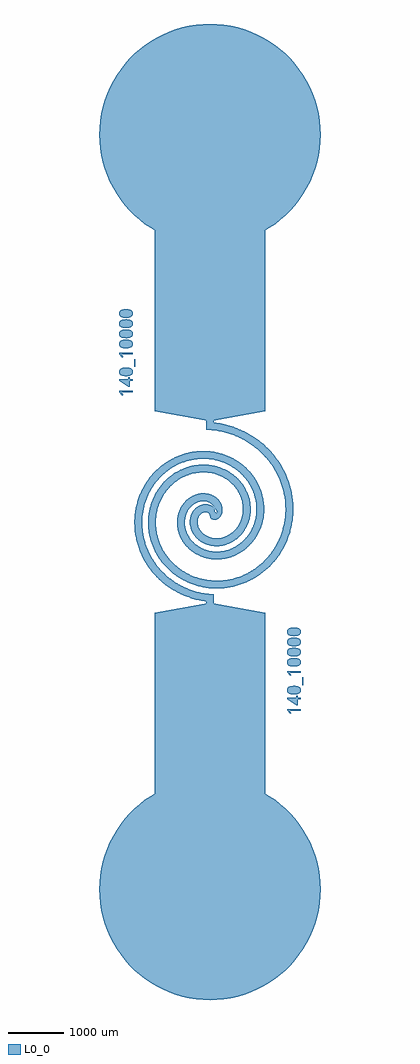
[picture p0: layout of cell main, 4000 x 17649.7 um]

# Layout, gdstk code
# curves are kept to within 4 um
import gdstk
lib = gdstk.Library(unit=1e-6, precision=1e-09)
def R(c, l, rs):  # rectangles x0, y0, x1, y1
    for r in rs: c.add(gdstk.rectangle(r[:2], r[2:], *l))
def P(c, l, *ps):  # polygons
    for p in ps: c.add(gdstk.Polygon(p, *l))
L0_0 = (0, 0)

main = lib.new_cell('main')
R(main, L0_0, [(-1430,-9006,570,-4002), (1237.9,-5311.7,1260.7,-5173.3), (-500,-4006,-360,-3666), (-500,-696.3,-360,-356.3), (-1430,-360.3,570,4643.7), (-1800.1,443.9,-1777.3,582.2)])
P(main, L0_0, [(1083.8,-4393.5),(1134.9,-4390.6),(1170.4,-4378.5),(1185,-4357.4),(1180,-4326.6),(1154.1,-4309.2),(1111.7,-4302.2),(1053.5,-4303.2),(1009.1,-4315.9),(991.9,-4343.1),(1001.8,-4374.2),(1032.4,-4388.7)],
  [(1088.7,-4271.6),(1015.9,-4282.2),(978.1,-4308.7),(968.3,-4329.8),(967,-4359.7),(974.6,-4383),(989.9,-4400.5),(1037.1,-4419.6),(1116,-4422.5),(1165.1,-4411.8),(1199.3,-4387),(1211.1,-4343.9),(1205.9,-4318.8),(1195.1,-4302.1),(1157.4,-4279.9)],
  [(1083.8,-4577.1),(1134.9,-4574.2),(1170.4,-4562.1),(1185,-4541),(1180,-4510.2),(1154.1,-4492.8),(1111.7,-4485.8),(1053.5,-4486.8),(1009.1,-4499.5),(991.9,-4526.7),(1001.8,-4557.8),(1032.4,-4572.3)],
  [(1088.7,-4455.2),(1015.9,-4465.8),(978.1,-4492.3),(968.3,-4513.4),(967,-4543.3),(976.3,-4569.4),(992.6,-4586.1),(1037.1,-4603.2),(1116,-4606.1),(1165.1,-4595.4),(1199.3,-4570.6),(1211.1,-4527.5),(1205.9,-4502.4),(1195.1,-4485.7),(1157.4,-4463.5)],
  [(1083.8,-4760.7),(1141.7,-4756.6),(1172.3,-4744.3),(1185.4,-4722.3),(1180,-4693.8),(1154.1,-4676.4),(1111.7,-4669.4),(1042.4,-4671.9),(1007.1,-4684.4),(991.9,-4710.3),(1001.8,-4741.3),(1032.4,-4755.9)],
  [(1088.7,-4638.8),(1015.9,-4649.4),(978.1,-4675.9),(968.3,-4697),(967,-4726.9),(976.3,-4753),(992.6,-4769.7),(1037.1,-4786.8),(1116,-4789.7),(1165.1,-4779),(1199.3,-4754.1),(1211.1,-4711.1),(1205.9,-4686),(1195.1,-4669.3),(1157.4,-4647.1)],
  [(1083.8,-4944.3),(1138.4,-4940.8),(1172.3,-4927.9),(1185.4,-4905.9),(1180,-4877.4),(1156.8,-4860.9),(1111.7,-4853),(1042.4,-4855.5),(1007.1,-4868),(991.9,-4893.9),(1001.8,-4924.9),(1029.3,-4938.7)],
  [(1088.7,-4822.4),(1019.8,-4831.6),(978.1,-4859.5),(968.3,-4880.6),(967,-4910.5),(974.6,-4933.7),(992.6,-4953.3),(1037.1,-4970.4),(1116,-4973.3),(1165.1,-4962.6),(1199.3,-4937.8),(1211.1,-4894.7),(1205.9,-4869.6),(1195.1,-4852.9),(1157.4,-4830.7)],
  [(1208,-5058.2),(970,-5058.2),(970,-5082.7),(1018.7,-5145),(1038.7,-5129.4),(1000.6,-5085.6),(1208,-5086.9)],
  [(1083.8,-5448.5),(1134.9,-5445.6),(1170.4,-5433.5),(1185,-5412.4),(1180,-5381.6),(1154.1,-5364.2),(1111.7,-5357.2),(1053.5,-5358.2),(1009.1,-5370.9),(991.9,-5398.1),(1001.8,-5429.2),(1032.4,-5443.7)],
  [(1088.7,-5326.6),(1019.8,-5335.9),(978.1,-5363.7),(968.3,-5384.9),(967,-5414.7),(974.6,-5438),(992.6,-5457.6),(1041.7,-5475.4),(1116,-5477.5),(1168.7,-5465.3),(1199.3,-5442),(1211.1,-5398.9),(1205.9,-5373.9),(1195.1,-5357.1),(1153.3,-5333.8)],
  [(1127.6,-5564.6),(999.3,-5562.5),(1127.6,-5645.5)],
  [(1154.6,-5501.3),(1127.6,-5501.3),(1127.6,-5535.9),(968.7,-5535.9),(968.7,-5566.5),(1128.7,-5674.5),(1154.6,-5674.5),(1154.6,-5564.6),(1208,-5564.6),(1208,-5535.9),(1154.6,-5535.9)],
  [(1208,-5746.1),(970,-5746.1),(970,-5770.5),(1018.7,-5832.8),(1038.7,-5817.2),(1000.6,-5773.4),(1208,-5774.7)],
  [(-1954.1,1362),(-1899.6,1365.5),(-1865.6,1378.4),(-1852.5,1400.4),(-1858,1428.9),(-1881.1,1445.4),(-1926.3,1453.3),(-1991.9,1451.4),(-2030.9,1438.3),(-2046.1,1412.4),(-2036.1,1381.4),(-2008.6,1367.6)],
  [(-1955,1483.9),(-2018.2,1474.7),(-2055.7,1451.9),(-2067.6,1432.2),(-2071.7,1407.6),(-2068.7,1385.1),(-2057.7,1364.5),(-2025.7,1342.7),(-1971.4,1332.5),(-1893.2,1337.4),(-1850.3,1356.5),(-1835,1374.1),(-1827.1,1400.1),(-1829.7,1430.2),(-1840.7,1450.9),(-1884.7,1476.8)],
  [(-1954.1,1178.4),(-1899.6,1181.9),(-1865.6,1194.8),(-1852.5,1216.8),(-1858,1245.3),(-1883.8,1262.8),(-1930.6,1270),(-1991.9,1267.8),(-2030.9,1254.7),(-2046.1,1228.8),(-2036.1,1197.8),(-2008.6,1184)],
  [(-1955,1300.3),(-2018.2,1291.1),(-2055.7,1268.3),(-2067.6,1248.6),(-2071.7,1224),(-2068.7,1201.5),(-2057.7,1180.9),(-2018,1156.5),(-1955,1148.3),(-1893.2,1153.8),(-1850.3,1172.9),(-1835,1190.5),(-1827.1,1216.5),(-1829.7,1246.6),(-1840.7,1267.3),(-1884.7,1293.2)],
  [(-1954.1,994.8),(-1899.6,998.3),(-1867.5,1009.9),(-1852.9,1031),(-1858,1061.7),(-1883.8,1079.2),(-1930.6,1086.4),(-1995.5,1083.7),(-2030.9,1071.1),(-2046.1,1045.2),(-2036.1,1014.2),(-2008.6,1000.4)],
  [(-1955,1116.7),(-2018.2,1107.5),(-2055.7,1084.8),(-2067.6,1065),(-2071.7,1040.4),(-2068.7,1017.9),(-2057.7,997.3),(-2018,972.9),(-1955,964.7),(-1893.2,970.2),(-1850.3,989.3),(-1835,1006.9),(-1827.1,1032.9),(-1829.7,1063),(-1840.7,1083.7),(-1859.1,1099.2),(-1884.7,1109.6)],
  [(-1949.3,811.2),(-1896.3,815.4),(-1867.5,826.3),(-1852.9,847.4),(-1858,878.1),(-1883.8,895.6),(-1930.6,902.8),(-1995.5,900.1),(-2030.9,887.5),(-2046.1,861.7),(-2043.4,841.1),(-2034.5,829.1),(-2002.3,815.4)],
  [(-1955,933.1),(-2014.1,925.2),(-2055.7,901.2),(-2067.6,881.4),(-2071.7,856.8),(-2067.6,831),(-2057.7,813.7),(-2021.9,790.6),(-1966,781.5),(-1897.7,785.7),(-1850.3,805.8),(-1835,823.3),(-1827.1,849.3),(-1829.7,879.4),(-1840.7,900.2),(-1884.7,926)],
  [(-1830,697.3),(-2068,697.3),(-2068,672.9),(-2019.3,610.5),(-1999.3,626.2),(-2037.4,669.9),(-1830,668.7)],
  [(-1954.1,307),(-1899.6,310.5),(-1865.6,323.4),(-1852.5,345.4),(-1858,373.9),(-1881.1,390.4),(-1926.3,398.3),(-1995.5,395.8),(-2030.9,383.3),(-2046.1,357.4),(-2036.1,326.4),(-2008.6,312.6)],
  [(-1949.3,428.9),(-2018.2,419.7),(-2059.8,391.8),(-2070.4,367.2),(-2071,340.8),(-2063.4,317.6),(-2048.1,300.1),(-2000.9,280.9),(-1927.2,277.6),(-1869.2,290.3),(-1838.7,313.6),(-1826.8,356.6),(-1832.1,381.7),(-1845.2,400.9),(-1884.7,421.8)],
  [(-1910.4,190.9),(-2038.7,193.1),(-1910.4,110.1)],
  [(-1883.4,254.3),(-1910.4,254.3),(-1910.4,219.6),(-2069.3,219.6),(-2069.3,189),(-1909.3,81.1),(-1883.4,81.1),(-1883.4,190.9),(-1830,190.9),(-1830,219.6),(-1883.4,219.6)],
  [(-1830,9.5),(-2068,9.5),(-2068,-14.9),(-2019.3,-77.3),(-1999.3,-61.7),(-2037.4,-17.9),(-1830,-19.2)],
  [(-430,-3806),(-418.9,-3666.4),(-623.3,-3634.9),(-818.3,-3574.4),(-924,-3527.5),(-1024.5,-3472.4),(-1186.3,-3357.4),(-1289.5,-3262.4),(-1397.9,-3136.2),(-1488.5,-2998.9),(-1560.2,-2853.1),(-1612.2,-2701.1),(-1647.5,-2519.7),(-1655.6,-2337.8),(-1637,-2159.2),(-1600.7,-2011.9),(-1536.2,-1849.7),(-1449.7,-1701.1),(-1344,-1569),(-1258.2,-1486.1),(-1145.9,-1400.3),(-1025.2,-1330.4),(-898.5,-1277.1),(-768,-1240.9),(-657.9,-1223.8),(-526.1,-1218.8),(-396.6,-1230.5),(-271.6,-1258),(-153,-1300.6),(-42.5,-1356.9),(58.4,-1425.8),(148.3,-1505.6),(237.6,-1610.4),(300,-1708.1),(355.3,-1828.8),(383.1,-1917.9),(403.4,-2026.1),(409.5,-2116.2),(406,-2205),(393.4,-2291.6),(366.6,-2391.4),(328,-2485.1),(287.7,-2557.5),(240.7,-2624.2),(176.4,-2695.7),(105.1,-2757.1),(28.1,-2807.8),(-53.1,-2847.4),(-136.7,-2875.6),(-221.4,-2892.5),(-305.6,-2898.2),(-427.9,-2886.8),(-553.4,-2848.4),(-663.1,-2786.7),(-760.8,-2697.7),(-831.1,-2593.7),(-872.6,-2482.1),(-883.2,-2420.8),(-885.6,-2360.5),(-867.8,-2247.4),(-841.3,-2180.3),(-805.4,-2121.8),(-756.2,-2067.8),(-694.5,-2023.5),(-636.1,-1998.1),(-571.7,-1985.2),(-506,-1987.7),(-440.2,-2008.9),(-382.5,-2052.1),(-323.4,-2139.7),(-298.6,-2192.8),(-290.3,-2244.6),(-297.9,-2217.1),(-314.9,-2194.7),(-337.6,-2182.2),(-358.9,-2182.1),(-345.4,-2150.6),(-350.4,-2106.4),(-387.7,-2076.6),(-431.5,-2055.3),(-494.5,-2042.2),(-558.7,-2046.4),(-620.1,-2066.6),(-675.9,-2101.4),(-723.2,-2148.9),(-760,-2207.2),(-782,-2265),(-793.6,-2327.7),(-793.9,-2393.2),(-782.5,-2459.8),(-755,-2534.5),(-718.4,-2596.6),(-655,-2668.4),(-574.9,-2727.6),(-480.8,-2770.5),(-376.1,-2794.1),(-264.8,-2796.1),(-164,-2778.3),(-64.9,-2741.7),(28.9,-2686.5),(83.3,-2642.8),(142.9,-2581.6),(186.9,-2523.9),(224.9,-2460.6),(256.3,-2392.3),(284.4,-2304.8),(299.1,-2228.1),(305.5,-2149.1),(294.9,-2003.5),(276.4,-1922.6),(248.8,-1842.9),(220.3,-1780.7),(166.8,-1691.3),(63.6,-1569.4),(-19.2,-1498.6),(-95.9,-1447.4),(-196.2,-1396.5),(-304,-1358.3),(-417.7,-1333.9),(-515.6,-1324.8),(-615.3,-1326.2),(-715.6,-1338.4),(-835.1,-1367.6),(-932.5,-1404),(-1026.6,-1451.2),(-1116.4,-1508.8),(-1200.5,-1576.6),(-1277.8,-1653.9),(-1347.3,-1740.1),(-1407.9,-1834.3),(-1467.6,-1956.6),(-1511.9,-2087.4),(-1539.5,-2224.7),(-1549.1,-2342.5),(-1544,-2486),(-1525.5,-2605.7),(-1494.1,-2724.1),(-1439.4,-2862.4),(-1379.9,-2972.9),(-1308.4,-3077.6),(-1225.2,-3175.1),(-1111.1,-3280.9),(-983,-3372.4),(-866.8,-3436.4),(-743.1,-3488.3),(-613.4,-3527.2),(-478.9,-3552.4),(-313.5,-3563.8),(-145.9,-3553.9),(-6.7,-3529.2),(157.4,-3479.9),(289.9,-3422.6),(441.3,-3334.9),(559.3,-3246.7),(668.4,-3145.7),(785.4,-3008.7),(869.8,-2882.7),(941.1,-2747.3),(998.2,-2603.9),(1040.1,-2454),(1066.3,-2299.2),(1076,-2141.1),(1069,-1981.5),(1051.1,-1853.9),(1022.3,-1727.5),(971.1,-1572.4),(903.3,-1422.4),(837.3,-1307.3),(740.9,-1170.8),(653.2,-1068.7),(556.5,-973.7),(424,-866.3),(279.7,-772.7),(156.9,-708.7),(-4.7,-643.1),(-139.3,-602.9),(-277.7,-573.9),(-418.9,-556.7),(-430,-696.3),(-332.7,-707.1),(-205.1,-731),(-111.6,-755.7),(9.6,-797.6),(126.1,-849.2),(209.8,-894),(391.4,-1017.4),(529.6,-1142),(631,-1257.5),(734.8,-1407.7),(805.4,-1540.8),(870.4,-1707.5),(913.4,-1879.2),(935.3,-2082),(930.2,-2254.7),(897.1,-2451),(846.5,-2611.8),(776.8,-2763.1),(673.4,-2924.7),(567.9,-3048.2),(469.7,-3139.1),(341.5,-3232.8),(204.1,-3308.5),(84.5,-3357.4),(-63.2,-3398.4),(-213,-3420),(-362.3,-3422.5),(-508.9,-3406.1),(-650.2,-3371.8),(-784.3,-3320.5),(-909,-3253.5),(-1022.7,-3172.4),(-1123.6,-3078.7),(-1223.7,-2956.3),(-1293.1,-2842.2),(-1338.8,-2742.5),(-1378.8,-2618.9),(-1399.5,-2514.1),(-1409.5,-2388.1),(-1405.4,-2284.4),(-1390.6,-2183),(-1359.2,-2066),(-1322.3,-1973.6),(-1276.4,-1886.8),(-1210.6,-1791.3),(-1134.3,-1706.5),(-1049.4,-1633.4),(-957.4,-1572.8),(-860.1,-1525.4),(-759.4,-1491.4),(-657,-1471),(-504.4,-1465.5),(-421.9,-1475),(-342.1,-1493),(-281,-1513.2),(-194.5,-1552.6),(-115.4,-1601.7),(-56,-1649.2),(-3,-1701.9),(51.5,-1770.9),(89.1,-1832.1),(124.3,-1908.7),(148.8,-1987.5),(160.9,-2053.7),(165.7,-2132.4),(160.4,-2209.3),(134.5,-2318.1),(89.7,-2415.8),(29,-2499.3),(-52.5,-2572.6),(-143.6,-2623.6),(-238.6,-2651.6),(-332.3,-2657.5),(-428,-2640.5),(-482.4,-2618.6),(-530.4,-2589.6),(-576.4,-2549.4),(-612,-2503.9),(-639.3,-2449.2),(-652.2,-2399.9),(-654.2,-2340.7),(-644.1,-2292.6),(-622.1,-2247.6),(-588.5,-2210.8),(-549.7,-2188.8),(-510.7,-2181.7),(-475.8,-2188.2),(-447.2,-2207.7),(-433.5,-2230.7),(-423.5,-2278.9),(-392.4,-2310.3),(-342.4,-2320.3),(-285.3,-2301.2),(-237.9,-2254.7),(-209,-2183.7),(-207.8,-2102.4),(-231.1,-2028.5),(-269,-1969.4),(-323.3,-1917.3),(-385,-1880.1),(-457.1,-1854.9),(-536.9,-1844.4),(-621.4,-1850.6),(-697.6,-1871.3),(-771.9,-1906.5),(-824.7,-1942.6),(-873.7,-1986.6),(-949.7,-2086.5),(-1002,-2207.5),(-1024.3,-2331.1),(-1024.6,-2409.1),(-1016.9,-2475.1),(-984.3,-2593.5),(-927.4,-2707.3),(-846.9,-2811.3),(-781,-2872.7),(-706,-2926.3),(-637.5,-2963.9),(-548.8,-2999.7),(-454.3,-3024.3),(-372.3,-3035.5),(-288.2,-3037.9),(-185.9,-3028.8),(-100.6,-3010.9),(0.1,-2976.9),(97.4,-2929.5),(174.5,-2879.9),(246.9,-2821.5),(313.7,-2754.7),(373.8,-2680.2),(426.3,-2598.6),(478.2,-2492.3),(511.3,-2397.9),(537.8,-2279.1),(549.2,-2155.8),(544.7,-2030.2),(523.9,-1904.3),(486.6,-1780.2),(443.1,-1679.7),(376.3,-1564.5),(308.9,-1474.4),(231.5,-1391),(144.6,-1315.4),(29,-1236.5),(-75.7,-1181.7),(-186.9,-1137.8),(-303.3,-1105.6),(-423.9,-1085.6),(-572.1,-1078.6),(-697,-1087.3),(-846.4,-1115.4),(-968.7,-1153.6),(-1087.6,-1205),(-1223.6,-1283.8),(-1329.7,-1363.1),(-1446.5,-1473.6),(-1533.4,-1577.6),(-1609.5,-1691.2),(-1673.9,-1813.5),(-1725.5,-1943.2),(-1763.5,-2078.8),(-1787.2,-2219.1),(-1796,-2362.4),(-1792.2,-2478.2),(-1773.4,-2623.1),(-1747.2,-2738),(-1700.6,-2879),(-1652.5,-2988.6),(-1578.9,-3120.4),(-1509.7,-3220.6),(-1411,-3337.9),(-1322.7,-3424.6),(-1201.7,-3522.7),(-1097,-3592.2),(-957.4,-3666.8),(-809.6,-3726.8),(-686.3,-3763.7),(-559.5,-3790.2)],
  [(-1430,-4006),(570,-4006),(-430,-3819.1),(-360,-3806),(-500,-3806),(-430,-3819.1)],
  [(-1430,-356.3),(-430,-543.2),(-500,-556.3),(-360,-556.3),(-430,-543.2),(570,-356.3)],
  [(1570,-9006),(1566.1,-8880.4),(1534.6,-8631.2),(1507.2,-8508.6),(1429.6,-8269.7),(1379.7,-8154.4),(1258.6,-7934.3),(1111,-7731.1),(1027.9,-7636.9),(844.9,-7465),(641.7,-7317.3),(421.6,-7196.3),(306.3,-7146.4),(67.4,-7068.8),(-55.2,-7041.4),(-304.4,-7009.9),(-430,-7006),(-555.6,-7009.9),(-804.8,-7041.4),(-1048,-7103.9),(-1281.6,-7196.3),(-1501.6,-7317.3),(-1605.6,-7388),(-1799.1,-7548.1),(-1888,-7636.9),(-1971,-7731.1),(-2118.7,-7934.3),(-2239.7,-8154.4),(-2289.6,-8269.7),(-2367.2,-8508.6),(-2394.6,-8631.2),(-2426.1,-8880.4),(-2430,-9006),(-2426.1,-9131.6),(-2394.6,-9380.8),(-2367.2,-9503.4),(-2289.6,-9742.3),(-2239.7,-9857.6),(-2118.7,-10077.6),(-2048,-10181.6),(-1888,-10375.1),(-1799.1,-10463.9),(-1605.6,-10624),(-1393.5,-10758.6),(-1166.2,-10865.6),(-927.4,-10943.2),(-804.8,-10970.6),(-555.6,-11002.1),(-430,-11006),(-304.4,-11002.1),(-55.2,-10970.6),(67.4,-10943.2),(306.3,-10865.6),(533.5,-10758.6),(641.7,-10694.6),(844.9,-10547),(939.1,-10463.9),(1027.9,-10375.1),(1188,-10181.6),(1322.6,-9969.5),(1429.6,-9742.3),(1507.2,-9503.4),(1534.6,-9380.8),(1566.1,-9131.6)],
  [(1570,-9006),(1566.1,-8880.4),(1534.6,-8631.2),(1507.2,-8508.6),(1429.6,-8269.7),(1379.7,-8154.4),(1258.6,-7934.3),(1111,-7731.1),(1027.9,-7636.9),(844.9,-7465),(641.7,-7317.3),(421.6,-7196.3),(306.3,-7146.4),(67.4,-7068.8),(-55.2,-7041.4),(-304.4,-7009.9),(-430,-7006),(-555.6,-7009.9),(-804.8,-7041.4),(-1048,-7103.9),(-1281.6,-7196.3),(-1501.6,-7317.3),(-1605.6,-7388),(-1799.1,-7548.1),(-1888,-7636.9),(-1971,-7731.1),(-2118.7,-7934.3),(-2239.7,-8154.4),(-2289.6,-8269.7),(-2367.2,-8508.6),(-2394.6,-8631.2),(-2426.1,-8880.4),(-2430,-9006),(-2426.1,-9131.6),(-2394.6,-9380.8),(-2367.2,-9503.4),(-2289.6,-9742.3),(-2239.7,-9857.6),(-2118.7,-10077.6),(-2048,-10181.6),(-1888,-10375.1),(-1799.1,-10463.9),(-1605.6,-10624),(-1393.5,-10758.6),(-1166.2,-10865.6),(-927.4,-10943.2),(-804.8,-10970.6),(-555.6,-11002.1),(-430,-11006),(-304.4,-11002.1),(-55.2,-10970.6),(67.4,-10943.2),(306.3,-10865.6),(533.5,-10758.6),(641.7,-10694.6),(844.9,-10547),(939.1,-10463.9),(1027.9,-10375.1),(1188,-10181.6),(1322.6,-9969.5),(1429.6,-9742.3),(1507.2,-9503.4),(1534.6,-9380.8),(1566.1,-9131.6)],
  [(1570,4643.7),(1566.1,4769.3),(1534.6,5018.4),(1507.2,5141.1),(1429.6,5380),(1322.6,5607.2),(1258.6,5715.4),(1111,5918.6),(1027.9,6012.9),(844.9,6184.8),(641.7,6332.5),(421.6,6453.4),(306.3,6503.3),(67.4,6580.9),(-55.2,6608.3),(-179.3,6628),(-430,6643.7),(-680.7,6628),(-804.8,6608.3),(-1048,6545.8),(-1281.6,6453.4),(-1501.6,6332.5),(-1605.6,6261.8),(-1704.8,6184.8),(-1888,6012.9),(-1971,5918.6),(-2118.7,5715.4),(-2239.7,5495.2),(-2289.6,5380),(-2367.2,5141.1),(-2394.6,5018.4),(-2426.1,4769.3),(-2430,4643.7),(-2426.1,4518.2),(-2394.6,4269),(-2367.2,4146.4),(-2289.6,3907.5),(-2239.7,3792.2),(-2118.7,3572.1),(-1971,3368.9),(-1888,3274.7),(-1799.1,3185.8),(-1605.6,3025.7),(-1393.5,2891.1),(-1166.2,2784.1),(-1048,2741.6),(-804.8,2679.1),(-555.6,2647.7),(-430,2643.7),(-304.4,2647.7),(-55.2,2679.1),(188,2741.6),(306.3,2784.1),(533.5,2891.1),(641.7,2955.1),(745.6,3025.7),(939.1,3185.8),(1111,3368.9),(1188,3468.2),(1322.6,3680.3),(1429.6,3907.5),(1507.2,4146.4),(1534.6,4269),(1566.1,4518.2)],
  [(1570,4643.7),(1566.1,4769.3),(1534.6,5018.4),(1507.2,5141.1),(1429.6,5380),(1322.6,5607.2),(1258.6,5715.4),(1111,5918.6),(1027.9,6012.9),(844.9,6184.8),(641.7,6332.5),(421.6,6453.4),(306.3,6503.3),(67.4,6580.9),(-55.2,6608.3),(-179.3,6628),(-430,6643.7),(-680.7,6628),(-804.8,6608.3),(-1048,6545.8),(-1281.6,6453.4),(-1501.6,6332.5),(-1605.6,6261.8),(-1704.8,6184.8),(-1888,6012.9),(-1971,5918.6),(-2118.7,5715.4),(-2239.7,5495.2),(-2289.6,5380),(-2367.2,5141.1),(-2394.6,5018.4),(-2426.1,4769.3),(-2430,4643.7),(-2426.1,4518.2),(-2394.6,4269),(-2367.2,4146.4),(-2289.6,3907.5),(-2239.7,3792.2),(-2118.7,3572.1),(-1971,3368.9),(-1888,3274.7),(-1799.1,3185.8),(-1605.6,3025.7),(-1393.5,2891.1),(-1166.2,2784.1),(-1048,2741.6),(-804.8,2679.1),(-555.6,2647.7),(-430,2643.7),(-304.4,2647.7),(-55.2,2679.1),(188,2741.6),(306.3,2784.1),(533.5,2891.1),(641.7,2955.1),(745.6,3025.7),(939.1,3185.8),(1111,3368.9),(1188,3468.2),(1322.6,3680.3),(1429.6,3907.5),(1507.2,4146.4),(1534.6,4269),(1566.1,4518.2)])

lib.write_gds('main.gds')
